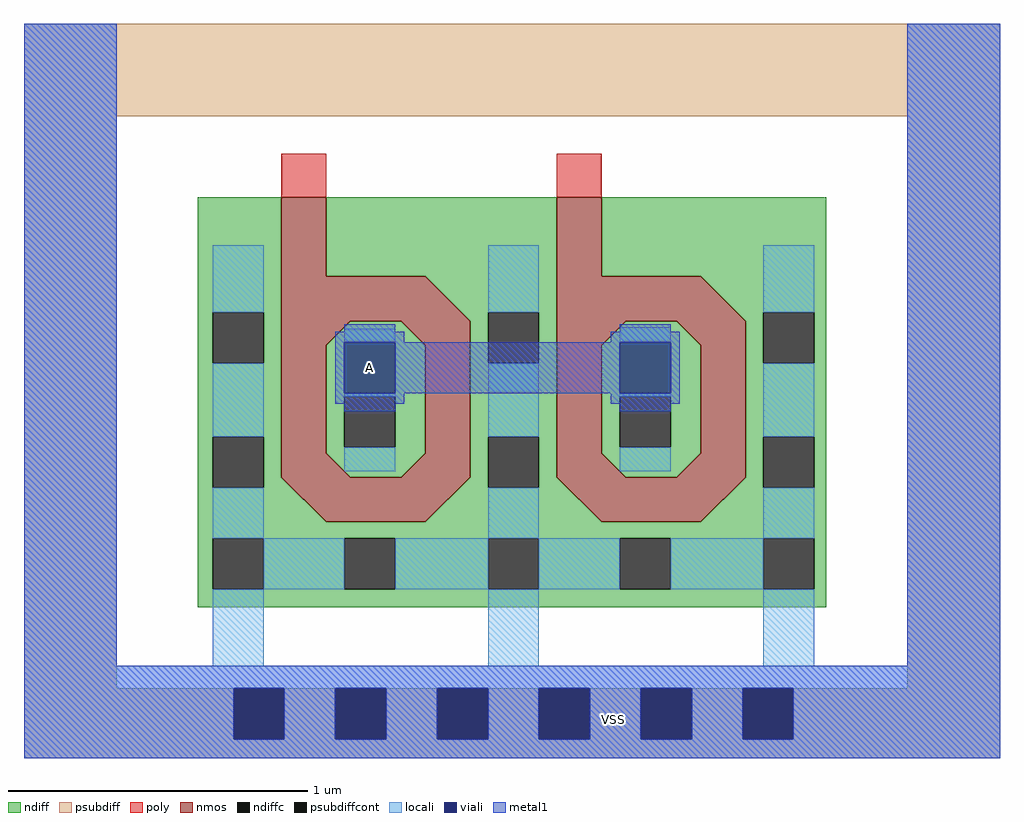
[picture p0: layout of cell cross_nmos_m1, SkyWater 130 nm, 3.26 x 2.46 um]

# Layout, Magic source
magic
tech sky130A
magscale 1 2
<< nmos >>
rect 56 322 86 375
rect 240 322 270 375
rect 56 292 152 322
tri 152 292 182 322 sw
rect 56 188 86 292
tri 86 276 102 292 nw
tri 136 276 152 292 ne
tri 86 188 102 204 sw
tri 136 188 152 204 se
rect 152 188 182 292
rect 240 292 336 322
tri 336 292 366 322 sw
tri 56 158 86 188 ne
rect 86 158 152 188
tri 152 158 182 188 nw
rect 240 188 270 292
tri 270 276 286 292 nw
tri 320 276 336 292 ne
tri 270 188 286 204 sw
tri 320 188 336 204 se
rect 336 188 366 292
tri 240 158 270 188 ne
rect 270 158 336 188
tri 336 158 366 188 nw
<< ndiff >>
rect 0 298 56 375
rect 86 322 240 375
rect 270 322 420 375
rect 0 264 10 298
rect 44 264 56 298
tri 152 292 182 322 ne
rect 182 298 240 322
rect 0 215 56 264
rect 0 181 10 215
rect 44 181 56 215
tri 86 276 102 292 se
rect 102 276 136 292
tri 136 276 152 292 sw
rect 86 242 152 276
rect 86 208 98 242
rect 132 208 152 242
rect 86 204 152 208
tri 86 188 102 204 ne
rect 102 188 136 204
tri 136 188 152 204 nw
rect 182 264 194 298
rect 228 264 240 298
tri 336 292 366 322 ne
rect 366 298 420 322
rect 182 215 240 264
rect 0 158 56 181
tri 56 158 86 188 sw
tri 152 158 182 188 se
rect 182 181 194 215
rect 228 181 240 215
tri 270 276 286 292 se
rect 286 276 320 292
tri 320 276 336 292 sw
rect 270 242 336 276
rect 270 208 282 242
rect 316 208 336 242
rect 270 204 336 208
tri 270 188 286 204 ne
rect 286 188 320 204
tri 320 188 336 204 nw
rect 366 264 378 298
rect 412 264 420 298
rect 366 215 420 264
rect 182 158 240 181
tri 240 158 270 188 sw
tri 336 158 366 188 se
rect 366 181 378 215
rect 412 181 420 215
rect 366 158 420 181
rect 0 147 420 158
rect 0 113 10 147
rect 44 113 98 147
rect 132 113 194 147
rect 228 113 282 147
rect 316 113 378 147
rect 412 113 420 147
rect 0 101 420 113
<< ndiffc >>
rect 10 264 44 298
rect 10 181 44 215
rect 98 208 132 242
rect 194 264 228 298
rect 194 181 228 215
rect 282 208 316 242
rect 378 264 412 298
rect 378 181 412 215
rect 10 113 44 147
rect 98 113 132 147
rect 194 113 228 147
rect 282 113 316 147
rect 378 113 412 147
<< psubdiff >>
rect -116 429 536 491
rect -116 47 -54 429
rect 474 47 536 429
rect -116 13 24 47
rect 58 13 92 47
rect 126 13 160 47
rect 194 13 228 47
rect 262 13 296 47
rect 330 13 364 47
rect 398 13 536 47
rect -116 0 536 13
<< psubdiffcont >>
rect 24 13 58 47
rect 92 13 126 47
rect 160 13 194 47
rect 228 13 262 47
rect 296 13 330 47
rect 364 13 398 47
<< poly >>
rect 56 375 86 404
rect 240 375 270 404
<< locali >>
rect -116 62 -54 491
rect 10 298 44 343
rect 194 298 228 343
rect 10 215 44 264
rect 98 278 132 287
rect 98 242 132 244
rect 98 192 132 208
rect 378 298 412 343
rect 194 215 228 264
rect 10 147 44 181
rect 282 278 316 288
rect 282 242 316 244
rect 282 192 316 208
rect 378 215 412 264
rect 194 147 228 181
rect 378 147 412 181
rect 44 113 98 147
rect 132 113 194 147
rect 228 113 282 147
rect 316 113 378 147
rect 10 62 44 113
rect 194 62 228 113
rect 378 62 412 113
rect 474 62 536 491
rect -116 47 536 62
rect -116 13 24 47
rect 58 13 92 47
rect 126 13 160 47
rect 194 13 228 47
rect 262 13 296 47
rect 330 13 364 47
rect 398 13 536 47
rect -116 0 536 13
<< viali >>
rect 98 244 132 278
rect 282 244 316 278
rect 24 13 58 47
rect 92 13 126 47
rect 160 13 194 47
rect 228 13 262 47
rect 296 13 330 47
rect 364 13 398 47
<< metal1 >>
rect -116 62 -54 491
rect 98 285 132 290
rect 282 285 316 290
rect 92 278 138 285
rect 276 278 322 285
rect 92 244 98 278
rect 132 244 282 278
rect 316 244 322 278
rect 92 237 138 244
rect 276 237 322 244
rect 98 232 132 237
rect 282 232 316 237
rect 474 62 536 491
rect -116 47 536 62
rect -116 13 24 47
rect 58 13 92 47
rect 126 13 160 47
rect 194 13 228 47
rect 262 13 296 47
rect 330 13 364 47
rect 398 13 536 47
rect -116 0 536 13
<< labels >>
rlabel metal1 98 244 132 278 1 A
port 1 n
rlabel metal1 278 26 278 26 1 VSS
port 2 n
<< end >>
